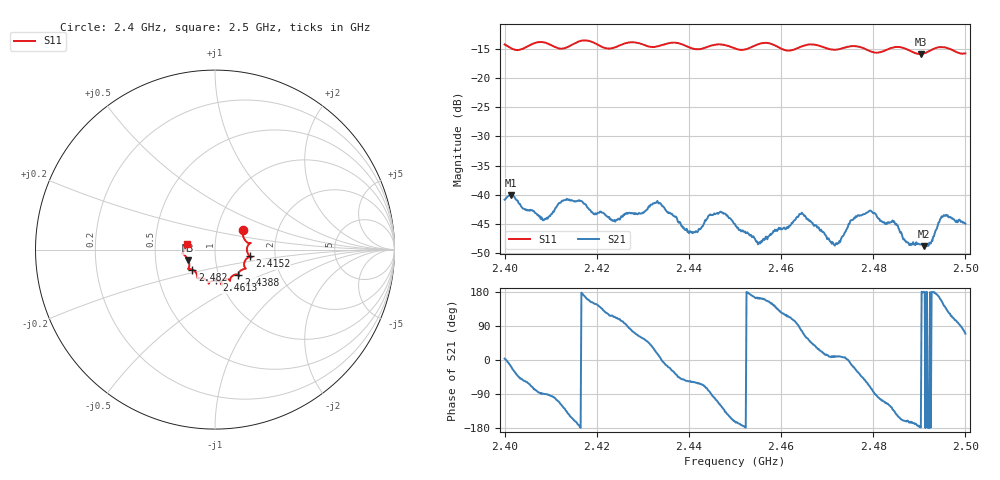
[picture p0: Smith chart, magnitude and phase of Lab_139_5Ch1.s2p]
# Hz S RI R 50
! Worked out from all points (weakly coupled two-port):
!   601 points, 2.4 GHz to 2.5 GHz, reference 50 ohm
!   highest |S21| = -39.99 dB at 2.4013 GHz (marker M1); lowest = -48.7 dB at 2.491 GHz (marker M2)
!   lowest |S11| = -15.9 dB at 2.4903 GHz (marker M3), VSWR 1.38, Z = 36.8 - j4.44 ohm
!   |S11| at or under -10 dB: start of sweep to end of sweep
!   S12 and S22 are empty: the file has one direction only
!   S11 on the Smith chart (normalised r, x): 2.4 GHz: 1.33, +0.31; 2.4152 GHz: 1.47, -0.11; 2.4388 GHz: 1.24, -0.36; 2.4613 GHz: 0.96, -0.34; 2.482 GHz: 0.76, -0.17; 2.5 GHz: 0.72, +0.05
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2.4e9  0.158 0.1115  0.0091 0.000568  0 0  0 0
2.401333e9  0.1554 0.0908  0.00962 -0.00277  0 0  0 0
2.408333e9  0.1985 0.0374  0.000108 -0.00606  0 0  0 0
2.415167e9  0.1935 -0.0374  -0.00828 -0.00296  0 0  0 0
2.416667e9  0.2032 -0.0436  -0.00887 0.000376  0 0  0 0
2.423667e9  0.162 -0.0807  -0.00241 0.0055  0 0  0 0
2.433333e9  0.1324 -0.1315  0.0083 0.00204  0 0  0 0
2.438833e9  0.1294 -0.141  0.00331 -0.00413  0 0  0 0
2.446667e9  0.0845 -0.1741  -0.00315 -0.00637  0 0  0 0
2.45e9  0.069 -0.1646  -0.00538 -0.0017  0 0  0 0
2.455167e9  0.0345 -0.1917  -0.00369 0.00104  0 0  0 0
2.461333e9  0.00767 -0.1711  -0.00224 0.00483  0 0  0 0
2.464333e9  -0.0299 -0.1825  0.00136 0.00675  0 0  0 0
2.466667e9  -0.0349 -0.1903  0.00418 0.00403  0 0  0 0
2.471833e9  -0.0642 -0.1619  0.00379 0.000572  0 0  0 0
2.476333e9  -0.0962 -0.1599  0.00574 -0.00302  0 0  0 0
2.482e9  -0.1259 -0.1113  -0.00168 -0.00561  0 0  0 0
2.483333e9  -0.1395 -0.1085  -0.00273 -0.00518  0 0  0 0
2.490333e9  -0.1489 -0.0588  -0.00378 -0.000121  0 0  0 0
2.491e9  -0.1545 -0.0489  -0.00365 2.34e-06  0 0  0 0
2.495333e9  -0.1817 -0.0194  -0.0054 0.00401  0 0  0 0
2.5e9  -0.1587 0.0322  0.00198 0.00532  0 0  0 0
